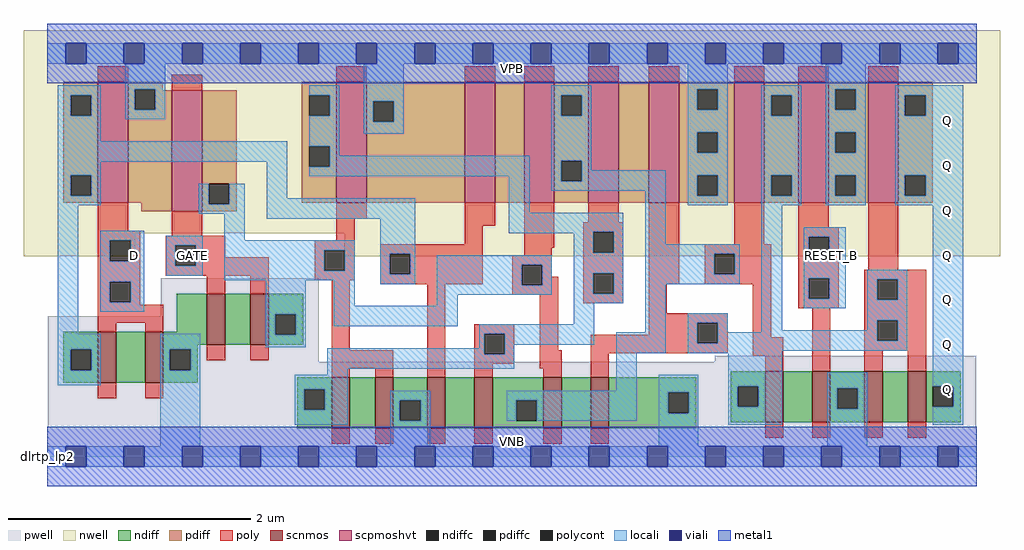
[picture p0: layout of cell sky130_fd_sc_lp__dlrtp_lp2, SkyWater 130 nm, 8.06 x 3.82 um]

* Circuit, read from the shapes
.subckt sky130_fd_sc_lp__dlrtp_lp2 D GATE RESET_B VGND VNB VPB VPWR Q
XM1 n1 D n2 VNB sky130_fd_pr__nfet_01v8 w=0.42 l=0.15
XM2 VGND D n1 VNB sky130_fd_pr__nfet_01v8 w=0.42 l=0.15
XM3 n3 GATE VGND VNB sky130_fd_pr__nfet_01v8 w=0.42 l=0.15
XM4 n4 GATE n3 VNB sky130_fd_pr__nfet_01v8 w=0.42 l=0.15
XM5 n5 n4 n6 VNB sky130_fd_pr__nfet_01v8 w=0.42 l=0.15
XM6 VGND n4 n5 VNB sky130_fd_pr__nfet_01v8 w=0.42 l=0.15
XM7 n7 n2 VGND VNB sky130_fd_pr__nfet_01v8 w=0.42 l=0.15
XM8 n8 n6 n7 VNB sky130_fd_pr__nfet_01v8 w=0.42 l=0.15
XM9 n9 n4 n8 VNB sky130_fd_pr__nfet_01v8 w=0.42 l=0.15
XM10 VGND n10 n9 VNB sky130_fd_pr__nfet_01v8 w=0.42 l=0.15
XM11 n11 n8 n10 VNB sky130_fd_pr__nfet_01v8 w=0.42 l=0.15
XM12 VGND RESET_B n11 VNB sky130_fd_pr__nfet_01v8 w=0.42 l=0.15
XM13 n12 n10 VGND VNB sky130_fd_pr__nfet_01v8 w=0.42 l=0.15
XM14 Q n10 n12 VNB sky130_fd_pr__nfet_01v8 w=0.42 l=0.15
XM15 VPWR D n2 VPB sky130_fd_pr__pfet_01v8_hvt w=1 l=0.25
XM16 n4 GATE VPWR VPB sky130_fd_pr__pfet_01v8_hvt w=1 l=0.25
XM17 VPWR n4 n6 VPB sky130_fd_pr__pfet_01v8_hvt w=1 l=0.25
XM18 n13 n2 VPWR VPB sky130_fd_pr__pfet_01v8_hvt w=1 l=0.25
XM19 n8 n4 n13 VPB sky130_fd_pr__pfet_01v8_hvt w=1 l=0.25
XM20 n14 n6 n8 VPB sky130_fd_pr__pfet_01v8_hvt w=1 l=0.25
XM21 VPWR n10 n14 VPB sky130_fd_pr__pfet_01v8_hvt w=1 l=0.25
XM22 n10 n8 VPWR VPB sky130_fd_pr__pfet_01v8_hvt w=1 l=0.25
XM23 VPWR RESET_B n10 VPB sky130_fd_pr__pfet_01v8_hvt w=1 l=0.25
XM24 Q n10 VPWR VPB sky130_fd_pr__pfet_01v8_hvt w=1 l=0.25
.ends

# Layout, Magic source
magic
tech sky130A
magscale 1 2
<< nwell >>
rect -38 369 1574 704
rect -38 331 146 369
rect 491 331 1574 369
<< pwell >>
rect 188 232 449 295
rect 1 157 449 232
rect 1103 157 1535 167
rect 1 49 1535 157
rect 0 0 1536 49
<< scnmos >>
rect 84 122 114 206
rect 162 122 192 206
rect 264 185 294 269
rect 336 185 366 269
rect 470 47 500 131
rect 542 47 572 131
rect 628 47 658 131
rect 706 47 736 131
rect 820 47 850 131
rect 898 47 928 131
rect 1186 57 1216 141
rect 1264 57 1294 141
rect 1350 57 1380 141
rect 1422 57 1452 141
<< scpmoshvt >>
rect 84 419 134 619
rect 206 405 256 605
rect 478 419 528 619
rect 690 419 740 619
rect 788 419 838 619
rect 894 419 944 619
rect 994 419 1044 619
rect 1135 419 1185 619
rect 1241 419 1291 619
rect 1356 419 1406 619
<< ndiff >>
rect 214 206 264 269
rect 27 177 84 206
rect 27 143 39 177
rect 73 143 84 177
rect 27 122 84 143
rect 114 122 162 206
rect 192 185 264 206
rect 294 185 336 269
rect 366 235 423 269
rect 366 201 377 235
rect 411 201 423 235
rect 366 185 423 201
rect 192 177 249 185
rect 192 143 203 177
rect 237 143 249 177
rect 192 122 249 143
rect 413 111 470 131
rect 413 77 425 111
rect 459 77 470 111
rect 413 47 470 77
rect 500 47 542 131
rect 572 93 628 131
rect 572 59 583 93
rect 617 59 628 93
rect 572 47 628 59
rect 658 47 706 131
rect 736 93 820 131
rect 736 59 775 93
rect 809 59 820 93
rect 736 47 820 59
rect 850 47 898 131
rect 928 106 1072 131
rect 928 72 1026 106
rect 1060 72 1072 106
rect 928 47 1072 72
rect 1129 116 1186 141
rect 1129 82 1141 116
rect 1175 82 1186 116
rect 1129 57 1186 82
rect 1216 57 1264 141
rect 1294 113 1350 141
rect 1294 79 1305 113
rect 1339 79 1350 113
rect 1294 57 1350 79
rect 1380 57 1422 141
rect 1452 116 1509 141
rect 1452 82 1463 116
rect 1497 82 1509 116
rect 1452 57 1509 82
<< pdiff >>
rect 27 597 84 619
rect 27 563 39 597
rect 73 563 84 597
rect 27 465 84 563
rect 27 431 39 465
rect 73 431 84 465
rect 27 419 84 431
rect 134 607 191 619
rect 134 573 145 607
rect 179 605 191 607
rect 179 573 206 605
rect 134 419 206 573
rect 156 405 206 419
rect 256 451 313 605
rect 256 417 267 451
rect 301 417 313 451
rect 421 597 478 619
rect 421 563 433 597
rect 467 563 478 597
rect 421 513 478 563
rect 421 479 433 513
rect 467 479 478 513
rect 421 419 478 479
rect 528 587 690 619
rect 528 553 539 587
rect 573 553 690 587
rect 528 419 690 553
rect 740 419 788 619
rect 838 597 894 619
rect 838 563 849 597
rect 883 563 894 597
rect 838 489 894 563
rect 838 455 849 489
rect 883 455 894 489
rect 838 419 894 455
rect 944 419 994 619
rect 1044 607 1135 619
rect 1044 573 1074 607
rect 1108 573 1135 607
rect 1044 536 1135 573
rect 1044 502 1074 536
rect 1108 502 1135 536
rect 1044 465 1135 502
rect 1044 431 1074 465
rect 1108 431 1135 465
rect 1044 419 1135 431
rect 1185 597 1241 619
rect 1185 563 1196 597
rect 1230 563 1241 597
rect 1185 465 1241 563
rect 1185 431 1196 465
rect 1230 431 1241 465
rect 1185 419 1241 431
rect 1291 607 1356 619
rect 1291 573 1302 607
rect 1336 573 1356 607
rect 1291 536 1356 573
rect 1291 502 1302 536
rect 1336 502 1356 536
rect 1291 465 1356 502
rect 1291 431 1302 465
rect 1336 431 1356 465
rect 1291 419 1356 431
rect 1406 597 1463 619
rect 1406 563 1417 597
rect 1451 563 1463 597
rect 1406 465 1463 563
rect 1406 431 1417 465
rect 1451 431 1463 465
rect 1406 419 1463 431
rect 256 405 313 417
<< ndiffc >>
rect 39 143 73 177
rect 377 201 411 235
rect 203 143 237 177
rect 425 77 459 111
rect 583 59 617 93
rect 775 59 809 93
rect 1026 72 1060 106
rect 1141 82 1175 116
rect 1305 79 1339 113
rect 1463 82 1497 116
<< pdiffc >>
rect 39 563 73 597
rect 39 431 73 465
rect 145 573 179 607
rect 267 417 301 451
rect 433 563 467 597
rect 433 479 467 513
rect 539 553 573 587
rect 849 563 883 597
rect 849 455 883 489
rect 1074 573 1108 607
rect 1074 502 1108 536
rect 1074 431 1108 465
rect 1196 563 1230 597
rect 1196 431 1230 465
rect 1302 573 1336 607
rect 1302 502 1336 536
rect 1302 431 1336 465
rect 1417 563 1451 597
rect 1417 431 1451 465
<< poly >>
rect 84 619 134 645
rect 206 605 256 631
rect 478 619 528 645
rect 690 619 740 645
rect 788 619 838 645
rect 894 619 944 645
rect 994 619 1044 645
rect 1135 619 1185 645
rect 1241 619 1291 645
rect 1356 619 1406 645
rect 84 373 134 419
rect 84 357 154 373
rect 206 365 256 405
rect 478 393 528 419
rect 84 323 104 357
rect 138 323 154 357
rect 84 289 154 323
rect 196 349 294 365
rect 478 357 508 393
rect 196 315 212 349
rect 246 329 294 349
rect 442 341 508 357
rect 690 381 740 419
rect 690 351 720 381
rect 246 315 366 329
rect 196 299 366 315
rect 84 255 104 289
rect 138 255 154 289
rect 264 269 294 299
rect 336 269 366 299
rect 442 307 458 341
rect 492 307 508 341
rect 442 291 508 307
rect 550 335 720 351
rect 550 301 566 335
rect 600 301 720 335
rect 788 345 838 419
rect 894 387 944 419
rect 886 371 952 387
rect 788 333 834 345
rect 84 251 154 255
rect 84 221 192 251
rect 84 206 114 221
rect 162 206 192 221
rect 264 159 294 185
rect 336 159 366 185
rect 470 176 500 291
rect 550 285 720 301
rect 768 317 834 333
rect 470 146 572 176
rect 470 131 500 146
rect 542 131 572 146
rect 628 131 658 285
rect 768 283 784 317
rect 818 297 834 317
rect 886 337 902 371
rect 936 337 952 371
rect 886 303 952 337
rect 818 283 844 297
rect 768 267 844 283
rect 706 203 772 219
rect 706 169 722 203
rect 756 169 772 203
rect 706 153 772 169
rect 814 176 844 267
rect 886 269 902 303
rect 936 269 952 303
rect 886 253 952 269
rect 994 285 1044 419
rect 1135 351 1185 419
rect 1241 379 1291 419
rect 1241 363 1308 379
rect 1086 335 1196 351
rect 1086 301 1102 335
rect 1136 301 1196 335
rect 1086 285 1196 301
rect 994 237 1024 285
rect 994 221 1124 237
rect 994 201 1074 221
rect 898 187 1074 201
rect 1108 187 1124 221
rect 706 131 736 153
rect 814 146 850 176
rect 820 131 850 146
rect 898 171 1124 187
rect 1166 197 1196 285
rect 1241 329 1258 363
rect 1292 329 1308 363
rect 1241 295 1308 329
rect 1356 309 1406 419
rect 1241 261 1258 295
rect 1292 261 1308 295
rect 1241 245 1308 261
rect 1350 293 1452 309
rect 1350 259 1371 293
rect 1405 259 1452 293
rect 898 131 928 171
rect 1166 167 1216 197
rect 1186 141 1216 167
rect 1264 141 1294 245
rect 1350 225 1452 259
rect 1350 191 1371 225
rect 1405 191 1452 225
rect 1350 175 1452 191
rect 1350 141 1380 175
rect 1422 141 1452 175
rect 84 96 114 122
rect 162 96 192 122
rect 470 21 500 47
rect 542 21 572 47
rect 628 21 658 47
rect 706 21 736 47
rect 820 21 850 47
rect 898 21 928 47
rect 1186 31 1216 57
rect 1264 31 1294 57
rect 1350 31 1380 57
rect 1422 31 1452 57
<< polycont >>
rect 104 323 138 357
rect 212 315 246 349
rect 104 255 138 289
rect 458 307 492 341
rect 566 301 600 335
rect 784 283 818 317
rect 902 337 936 371
rect 722 169 756 203
rect 902 269 936 303
rect 1102 301 1136 335
rect 1074 187 1108 221
rect 1258 329 1292 363
rect 1258 261 1292 295
rect 1371 259 1405 293
rect 1371 191 1405 225
<< locali >>
rect 0 649 31 683
rect 65 649 127 683
rect 161 649 223 683
rect 257 649 319 683
rect 353 649 415 683
rect 449 649 511 683
rect 545 649 607 683
rect 641 649 703 683
rect 737 649 799 683
rect 833 649 895 683
rect 929 649 991 683
rect 1025 649 1087 683
rect 1121 649 1183 683
rect 1217 649 1279 683
rect 1313 649 1375 683
rect 1409 649 1471 683
rect 1505 649 1536 683
rect 18 597 89 613
rect 18 563 39 597
rect 73 563 89 597
rect 18 521 89 563
rect 129 607 195 649
rect 129 573 145 607
rect 179 573 195 607
rect 129 557 195 573
rect 433 597 483 613
rect 467 563 483 597
rect 18 487 397 521
rect 18 465 89 487
rect 18 431 39 465
rect 73 431 89 465
rect 18 415 89 431
rect 251 417 267 451
rect 301 417 327 451
rect 18 203 52 415
rect 251 401 327 417
rect 88 357 161 373
rect 88 323 104 357
rect 138 323 161 357
rect 88 289 161 323
rect 197 349 257 365
rect 197 315 212 349
rect 246 315 257 349
rect 197 299 257 315
rect 293 357 327 401
rect 363 427 397 487
rect 433 513 483 563
rect 523 587 589 649
rect 523 553 539 587
rect 573 553 589 587
rect 523 533 589 553
rect 833 597 899 613
rect 833 563 849 597
rect 883 563 899 597
rect 467 497 483 513
rect 467 479 797 497
rect 433 463 797 479
rect 363 393 608 427
rect 293 341 508 357
rect 293 307 458 341
rect 492 307 508 341
rect 293 291 508 307
rect 88 255 104 289
rect 138 255 161 289
rect 88 239 161 255
rect 361 235 427 291
rect 18 177 89 203
rect 18 143 39 177
rect 73 143 89 177
rect 18 118 89 143
rect 187 177 253 203
rect 361 201 377 235
rect 411 201 427 235
rect 474 249 508 291
rect 550 335 608 393
rect 763 403 797 463
rect 833 489 899 563
rect 833 455 849 489
rect 883 473 899 489
rect 1058 607 1124 649
rect 1058 573 1074 607
rect 1108 573 1124 607
rect 1058 536 1124 573
rect 1058 502 1074 536
rect 1108 502 1124 536
rect 883 455 1022 473
rect 833 439 1022 455
rect 763 371 952 403
rect 763 369 902 371
rect 550 301 566 335
rect 600 301 608 335
rect 870 337 902 369
rect 936 337 952 371
rect 550 285 608 301
rect 644 317 834 333
rect 644 283 784 317
rect 818 283 834 317
rect 644 267 834 283
rect 870 303 952 337
rect 870 269 902 303
rect 936 269 952 303
rect 644 249 678 267
rect 474 215 678 249
rect 870 253 952 269
rect 988 351 1022 439
rect 1058 465 1124 502
rect 1058 431 1074 465
rect 1108 431 1124 465
rect 1058 415 1124 431
rect 1180 597 1246 613
rect 1180 563 1196 597
rect 1230 563 1246 597
rect 1180 465 1246 563
rect 1180 431 1196 465
rect 1230 431 1246 465
rect 1180 415 1246 431
rect 1286 607 1352 649
rect 1286 573 1302 607
rect 1336 573 1352 607
rect 1286 536 1352 573
rect 1286 502 1302 536
rect 1336 502 1352 536
rect 1286 465 1352 502
rect 1286 431 1302 465
rect 1336 431 1352 465
rect 1286 415 1352 431
rect 1401 597 1513 613
rect 1401 563 1417 597
rect 1451 563 1513 597
rect 1401 465 1513 563
rect 1401 431 1417 465
rect 1451 431 1513 465
rect 1401 415 1513 431
rect 988 335 1144 351
rect 988 301 1102 335
rect 1136 301 1144 335
rect 988 285 1144 301
rect 870 219 904 253
rect 361 181 427 201
rect 714 203 904 219
rect 988 205 1022 285
rect 714 179 722 203
rect 187 143 203 177
rect 237 143 253 177
rect 187 17 253 143
rect 463 169 722 179
rect 756 185 904 203
rect 756 169 772 185
rect 463 145 772 169
rect 940 171 1022 205
rect 1058 221 1124 237
rect 1058 187 1074 221
rect 1108 205 1124 221
rect 1180 209 1214 415
rect 1250 363 1319 379
rect 1250 329 1258 363
rect 1292 329 1319 363
rect 1250 295 1319 329
rect 1250 261 1258 295
rect 1292 261 1319 295
rect 1250 245 1319 261
rect 1355 293 1421 309
rect 1355 259 1371 293
rect 1405 259 1421 293
rect 1355 225 1421 259
rect 1355 209 1371 225
rect 1180 205 1371 209
rect 1108 191 1371 205
rect 1405 191 1421 225
rect 1108 187 1421 191
rect 1058 175 1421 187
rect 1058 171 1214 175
rect 463 135 497 145
rect 409 111 497 135
rect 409 77 425 111
rect 459 77 497 111
rect 940 109 974 171
rect 409 53 497 77
rect 567 93 633 109
rect 567 59 583 93
rect 617 59 633 93
rect 759 93 974 109
rect 759 59 775 93
rect 809 59 974 93
rect 1010 106 1076 135
rect 1010 72 1026 106
rect 1060 72 1076 106
rect 567 17 633 59
rect 1010 17 1076 72
rect 1125 116 1214 171
rect 1125 82 1141 116
rect 1175 82 1214 116
rect 1125 53 1214 82
rect 1289 113 1355 139
rect 1289 79 1305 113
rect 1339 79 1355 113
rect 1289 17 1355 79
rect 1463 116 1513 415
rect 1497 82 1513 116
rect 1463 53 1513 82
rect 0 -17 31 17
rect 65 -17 127 17
rect 161 -17 223 17
rect 257 -17 319 17
rect 353 -17 415 17
rect 449 -17 511 17
rect 545 -17 607 17
rect 641 -17 703 17
rect 737 -17 799 17
rect 833 -17 895 17
rect 929 -17 991 17
rect 1025 -17 1087 17
rect 1121 -17 1183 17
rect 1217 -17 1279 17
rect 1313 -17 1375 17
rect 1409 -17 1471 17
rect 1505 -17 1536 17
<< viali >>
rect 31 649 65 683
rect 127 649 161 683
rect 223 649 257 683
rect 319 649 353 683
rect 415 649 449 683
rect 511 649 545 683
rect 607 649 641 683
rect 703 649 737 683
rect 799 649 833 683
rect 895 649 929 683
rect 991 649 1025 683
rect 1087 649 1121 683
rect 1183 649 1217 683
rect 1279 649 1313 683
rect 1375 649 1409 683
rect 1471 649 1505 683
rect 31 -17 65 17
rect 127 -17 161 17
rect 223 -17 257 17
rect 319 -17 353 17
rect 415 -17 449 17
rect 511 -17 545 17
rect 607 -17 641 17
rect 703 -17 737 17
rect 799 -17 833 17
rect 895 -17 929 17
rect 991 -17 1025 17
rect 1087 -17 1121 17
rect 1183 -17 1217 17
rect 1279 -17 1313 17
rect 1375 -17 1409 17
rect 1471 -17 1505 17
<< metal1 >>
rect 0 683 1536 715
rect 0 649 31 683
rect 65 649 127 683
rect 161 649 223 683
rect 257 649 319 683
rect 353 649 415 683
rect 449 649 511 683
rect 545 649 607 683
rect 641 649 703 683
rect 737 649 799 683
rect 833 649 895 683
rect 929 649 991 683
rect 1025 649 1087 683
rect 1121 649 1183 683
rect 1217 649 1279 683
rect 1313 649 1375 683
rect 1409 649 1471 683
rect 1505 649 1536 683
rect 0 617 1536 649
rect 0 17 1536 49
rect 0 -17 31 17
rect 65 -17 127 17
rect 161 -17 223 17
rect 257 -17 319 17
rect 353 -17 415 17
rect 449 -17 511 17
rect 545 -17 607 17
rect 641 -17 703 17
rect 737 -17 799 17
rect 833 -17 895 17
rect 929 -17 991 17
rect 1025 -17 1087 17
rect 1121 -17 1183 17
rect 1217 -17 1279 17
rect 1313 -17 1375 17
rect 1409 -17 1471 17
rect 1505 -17 1536 17
rect 0 -49 1536 -17
<< labels >>
flabel pwell s 0 0 1536 49 0 FreeSans 200 0 0 0 VNB
port 5 nsew ground bidirectional
flabel nwell s 0 617 1536 666 0 FreeSans 200 0 0 0 VPB
port 6 nsew power bidirectional
rlabel comment s 0 0 0 0 4 dlrtp_lp2
flabel metal1 s 0 617 1536 666 0 FreeSans 340 0 0 0 VPWR
port 7 nsew power bidirectional
flabel metal1 s 0 0 1536 49 0 FreeSans 340 0 0 0 VGND
port 4 nsew ground bidirectional
flabel locali s 127 316 161 350 0 FreeSans 340 0 0 0 D
port 1 nsew signal input
flabel locali s 1279 316 1313 350 0 FreeSans 340 0 0 0 RESET_B
port 3 nsew signal input
flabel locali s 223 316 257 350 0 FreeSans 340 0 0 0 GATE
port 2 nsew clock input
flabel locali s 1471 94 1505 128 0 FreeSans 340 0 0 0 Q
port 8 nsew signal output
flabel locali s 1471 168 1505 202 0 FreeSans 340 0 0 0 Q
port 8 nsew signal output
flabel locali s 1471 242 1505 276 0 FreeSans 340 0 0 0 Q
port 8 nsew signal output
flabel locali s 1471 316 1505 350 0 FreeSans 340 0 0 0 Q
port 8 nsew signal output
flabel locali s 1471 390 1505 424 0 FreeSans 340 0 0 0 Q
port 8 nsew signal output
flabel locali s 1471 464 1505 498 0 FreeSans 340 0 0 0 Q
port 8 nsew signal output
flabel locali s 1471 538 1505 572 0 FreeSans 340 0 0 0 Q
port 8 nsew signal output
<< properties >>
string LEFsite unit
string LEFclass CORE
string FIXED_BBOX 0 0 1536 666
string GDS_FILE $PDKPATH/libs.ref/sky130_fd_sc_lp/gds/sky130_fd_sc_lp.gds
string LEFsymmetry X Y R90
string GDS_END 1883576
string GDS_START 1872132
<< end >>
